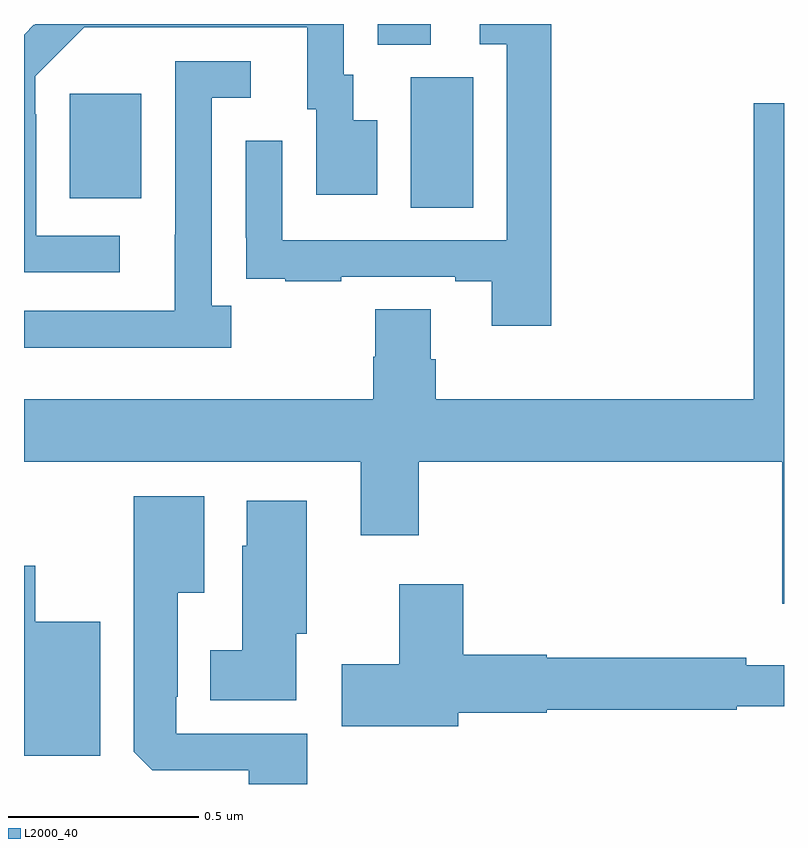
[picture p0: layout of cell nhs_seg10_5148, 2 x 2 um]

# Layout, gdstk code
import gdstk
lib = gdstk.Library(unit=1e-6, precision=1e-09)
def R(c, l, rs):  # rectangles x0, y0, x1, y1
    for r in rs: c.add(gdstk.rectangle(r[:2], r[2:], *l))
def P(c, l, *ps):  # polygons
    for p in ps: c.add(gdstk.Polygon(p, *l))
L2000_40 = (2000, 40)

nhs_seg10_5148 = lib.new_cell('nhs_seg10_5148')
R(nhs_seg10_5148, L2000_40, [(176.018,1269.016,176.182,1269.36), (175.121,1269.041,175.309,1269.316), (175.931,1269.445,176.071,1269.5)])
P(nhs_seg10_5148, L2000_40, [(176.387,1269.5),(176.199,1269.5),(176.199,1269.447),(176.271,1269.447),(176.271,1268.931),(175.68,1268.931),(175.68,1269.193),(175.584,1269.193),(175.584,1268.938),(175.585,1268.938),(175.585,1268.829),(175.687,1268.829),(175.687,1268.823),(175.835,1268.823),(175.835,1268.835),(176.135,1268.835),(176.135,1268.823),(176.231,1268.823),(176.231,1268.706),(176.387,1268.706)],
  [(175.252,1268.943),(175.032,1268.943),(175.032,1269.263),(175.029,1269.263),(175.029,1269.363),(175.158,1269.492),(175.745,1269.492),(175.745,1269.276),(175.769,1269.276),(175.769,1269.051),(175.93,1269.051),(175.93,1269.247),(175.867,1269.247),(175.867,1269.366),(175.842,1269.366),(175.842,1269.5),(175.03,1269.5),(175.027,1269.497),(175.026,1269.498),(175,1269.472),(175,1268.847),(175.252,1268.847)],
  [(175.546,1268.758),(175.494,1268.758),(175.494,1269.306),(175.597,1269.306),(175.597,1269.402),(175.398,1269.402),(175.398,1268.945),(175.397,1268.945),(175.397,1268.745),(175,1268.745),(175,1268.648),(175.546,1268.648)],
  [(177,1269.292),(176.921,1269.292),(176.921,1268.512),(176.084,1268.512),(176.084,1268.618),(176.071,1268.618),(176.071,1268.75),(175.924,1268.75),(175.924,1268.625),(175.919,1268.625),(175.919,1268.512),(175,1268.512),(175,1268.348),(175.886,1268.348),(175.886,1268.154),(176.039,1268.154),(176.039,1268.348),(176.996,1268.348),(176.996,1267.974),(177,1267.974)],
  [(175.745,1267.632),(175.401,1267.632),(175.401,1267.729),(175.405,1267.729),(175.405,1268.003),(175.474,1268.003),(175.474,1268.257),(175.289,1268.257),(175.289,1267.585),(175.338,1267.536),(175.592,1267.536),(175.592,1267.5),(175.745,1267.5)],
  [(175.717,1267.896),(175.744,1267.896),(175.744,1268.245),(175.586,1268.245),(175.586,1268.127),(175.574,1268.127),(175.574,1267.852),(175.49,1267.852),(175.49,1267.721),(175.717,1267.721)],
  [(175.201,1267.927),(175.03,1267.927),(175.03,1268.074),(175,1268.074),(175,1267.574),(175.201,1267.574)],
  [(176.143,1267.688),(176.376,1267.688),(176.376,1267.696),(176.876,1267.696),(176.876,1267.704),(177,1267.704),(177,1267.813),(176.9,1267.813),(176.9,1267.832),(176.376,1267.832),(176.376,1267.84),(176.156,1267.84),(176.156,1268.026),(175.988,1268.026),(175.988,1267.815),(175.836,1267.815),(175.836,1267.652),(176.143,1267.652)])

lib.write_gds('nhs_seg10_5148.gds')
